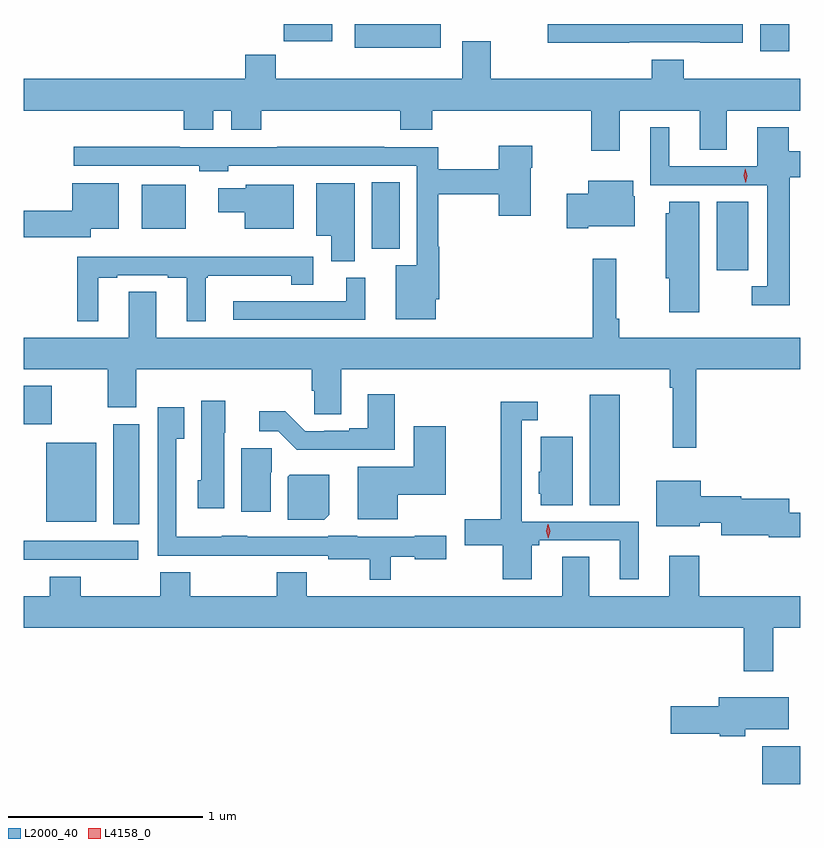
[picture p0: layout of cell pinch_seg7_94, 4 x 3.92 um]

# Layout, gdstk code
import gdstk
lib = gdstk.Library(unit=1e-6, precision=1e-09)
def R(c, l, rs):  # rectangles x0, y0, x1, y1
    for r in rs: c.add(gdstk.rectangle(r[:2], r[2:], *l))
def P(c, l, *ps):  # polygons
    for p in ps: c.add(gdstk.Polygon(p, *l))
L2000_40 = (2000, 40)
L4158_0 = (4158, 0)

pinch_seg7_94 = lib.new_cell('pinch_seg7_94')
R(pinch_seg7_94, L2000_40, [(888.416,1005.14,888.613,1005.334), (884.613,1006.296,885.202,1006.392), (885.074,1006.477,885.208,1006.993), (884.729,1006.49,884.986,1006.897), (887.528,1006.576,887.683,1007.146), (884.613,1006.992,884.757,1007.191), (888.182,1007.787,888.346,1008.14), (886.406,1007.897,886.549,1008.239), (885.221,1007.999,885.448,1008.226), (888.407,1008.915,888.556,1009.055), (886.319,1008.932,886.762,1009.055), (885.952,1008.966,886.201,1009.055)])
P(pinch_seg7_94, L2000_40, [(887.731,1008.96),(888.097,1008.96),(888.097,1008.959),(888.318,1008.959),(888.318,1009.055),(887.313,1009.055),(887.313,1008.959),(887.731,1008.959)],
  [(887.683,1008.608),(888.095,1008.608),(888.095,1008.406),(888.235,1008.406),(888.235,1008.608),(888.613,1008.608),(888.613,1008.772),(888.014,1008.772),(888.014,1008.871),(887.849,1008.871),(887.849,1008.772),(887.019,1008.772),(887.019,1008.967),(886.871,1008.967),(886.871,1008.772),(885.911,1008.772),(885.911,1008.896),(885.755,1008.896),(885.755,1008.772),(884.613,1008.772),(884.613,1008.608),(885.437,1008.608),(885.437,1008.509),(885.589,1008.509),(885.589,1008.608),(885.683,1008.608),(885.683,1008.509),(885.836,1008.509),(885.836,1008.608),(886.553,1008.608),(886.553,1008.509),(886.718,1008.509),(886.718,1008.608),(887.536,1008.608),(887.536,1008.402),(887.683,1008.402)],
  [(888.56,1008.266),(888.613,1008.266),(888.613,1008.4),(888.554,1008.4),(888.554,1008.523),(888.392,1008.523),(888.392,1008.321),(887.938,1008.321),(887.938,1008.523),(887.84,1008.523),(887.84,1008.225),(888.444,1008.225),(888.444,1007.703),(888.363,1007.703),(888.363,1007.606),(888.56,1007.606)],
  [(886.735,1007.638),(886.754,1007.638),(886.754,1007.908),(886.747,1007.908),(886.747,1008.178),(887.059,1008.178),(887.059,1008.066),(887.224,1008.066),(887.224,1008.314),(887.232,1008.314),(887.232,1008.427),(887.059,1008.427),(887.059,1008.307),(886.747,1008.307),(886.747,1008.42),(886.469,1008.42),(886.469,1008.422),(885.919,1008.422),(885.919,1008.42),(885.416,1008.42),(885.416,1008.422),(884.871,1008.422),(884.871,1008.324),(885.516,1008.324),(885.516,1008.296),(885.666,1008.296),(885.666,1008.324),(886.638,1008.324),(886.638,1007.812),(886.529,1007.812),(886.529,1007.534),(886.735,1007.534)],
  [(887.521,1008.014),(887.761,1008.014),(887.761,1008.168),(887.752,1008.168),(887.752,1008.247),(887.522,1008.247),(887.522,1008.18),(887.409,1008.18),(887.409,1008.002),(887.521,1008.002)],
  [(884.958,1007.999),(885.103,1007.999),(885.103,1008.235),(884.864,1008.235),(884.864,1008.092),(884.613,1008.092),(884.613,1007.956),(884.958,1007.956)],
  [(886.318,1008.235),(886.121,1008.235),(886.121,1007.963),(886.196,1007.963),(886.196,1007.833),(886.318,1007.833)],
  [(886.003,1008.226),(885.756,1008.226),(885.756,1008.208),(885.615,1008.208),(885.615,1008.086),(885.752,1008.086),(885.752,1007.999),(886.003,1007.999)],
  [(888.094,1008.14),(887.939,1008.14),(887.939,1008.081),(887.921,1008.081),(887.921,1007.745),(887.939,1007.745),(887.939,1007.571),(888.094,1007.571)],
  [(884.998,1007.748),(885.094,1007.748),(885.094,1007.76),(885.356,1007.76),(885.356,1007.748),(885.452,1007.748),(885.452,1007.525),(885.55,1007.525),(885.55,1007.748),(885.562,1007.748),(885.562,1007.759),(885.992,1007.759),(885.992,1007.713),(886.105,1007.713),(886.105,1007.857),(884.889,1007.857),(884.889,1007.525),(884.998,1007.525)],
  [(888.077,1007.276),(888.613,1007.276),(888.613,1007.44),(887.681,1007.44),(887.681,1007.536),(887.666,1007.536),(887.666,1007.845),(887.545,1007.845),(887.545,1007.44),(885.295,1007.44),(885.295,1007.675),(885.155,1007.675),(885.155,1007.44),(884.613,1007.44),(884.613,1007.276),(885.046,1007.276),(885.046,1007.082),(885.193,1007.082),(885.193,1007.276),(886.097,1007.276),(886.097,1007.166),(886.11,1007.166),(886.11,1007.044),(886.249,1007.044),(886.249,1007.276),(887.941,1007.276),(887.941,1007.18),(887.956,1007.18),(887.956,1006.872),(888.077,1006.872)],
  [(886.372,1007.748),(886.274,1007.748),(886.274,1007.628),(885.693,1007.628),(885.693,1007.532),(886.372,1007.532)],
  [(886.525,1007.149),(886.385,1007.149),(886.385,1006.972),(886.289,1006.972),(886.289,1006.959),(886.162,1006.959),(886.162,1006.956),(886.062,1006.956),(885.96,1007.059),(885.825,1007.059),(885.825,1006.956),(885.924,1006.956),(886.019,1006.862),(886.525,1006.862)],
  [(885.646,1006.95),(885.652,1006.95),(885.652,1007.113),(885.527,1007.113),(885.527,1006.704),(885.509,1006.704),(885.509,1006.56),(885.646,1006.56)],
  [(887.23,1006.37),(887.268,1006.37),(887.268,1006.395),(887.684,1006.395),(887.684,1006.194),(887.782,1006.194),(887.782,1006.491),(887.178,1006.491),(887.178,1007.013),(887.26,1007.013),(887.26,1007.11),(887.07,1007.11),(887.07,1006.505),(886.884,1006.505),(886.884,1006.37),(887.081,1006.37),(887.081,1006.194),(887.23,1006.194)],
  [(886.503,1006.31),(886.626,1006.31),(886.626,1006.298),(886.789,1006.298),(886.789,1006.42),(886.626,1006.42),(886.626,1006.414),(886.332,1006.414),(886.332,1006.42),(886.182,1006.42),(886.182,1006.413),(885.765,1006.413),(885.765,1006.42),(885.633,1006.42),(885.633,1006.414),(885.399,1006.414),(885.399,1006.919),(885.439,1006.919),(885.439,1007.08),(885.303,1007.08),(885.303,1006.317),(885.533,1006.317),(885.533,1006.316),(885.765,1006.316),(885.765,1006.317),(886.182,1006.317),(886.182,1006.298),(886.395,1006.298),(886.395,1006.193),(886.503,1006.193)],
  [(886.54,1006.631),(886.788,1006.631),(886.788,1006.984),(886.622,1006.984),(886.622,1006.774),(886.334,1006.774),(886.334,1006.505),(886.54,1006.505)],
  [(887.44,1006.93),(887.276,1006.93),(887.276,1006.749),(887.267,1006.749),(887.267,1006.635),(887.276,1006.635),(887.276,1006.576),(887.44,1006.576)],
  [(885.886,1006.746),(885.89,1006.746),(885.89,1006.869),(885.734,1006.869),(885.734,1006.542),(885.886,1006.542)],
  [(886.186,1006.528),(886.186,1006.732),(885.982,1006.732),(885.974,1006.724),(885.974,1006.502),(886.16,1006.502)],
  [(888.613,1006.538),(888.556,1006.538),(888.556,1006.609),(888.31,1006.609),(888.31,1006.622),(888.1,1006.622),(888.1,1006.702),(887.87,1006.702),(887.87,1006.469),(888.096,1006.469),(888.096,1006.487),(888.206,1006.487),(888.206,1006.421),(888.452,1006.421),(888.452,1006.41),(888.613,1006.41)],
  [(888.475,1005.944),(888.613,1005.944),(888.613,1006.108),(888.092,1006.108),(888.092,1006.315),(887.939,1006.315),(887.939,1006.108),(887.527,1006.108),(887.527,1006.31),(887.387,1006.31),(887.387,1006.108),(886.071,1006.108),(886.071,1006.232),(885.916,1006.232),(885.916,1006.108),(885.471,1006.108),(885.471,1006.232),(885.316,1006.232),(885.316,1006.108),(884.907,1006.108),(884.907,1006.207),(884.747,1006.207),(884.747,1006.108),(884.613,1006.108),(884.613,1005.944),(888.323,1005.944),(888.323,1005.72),(888.475,1005.72)],
  [(888.33,1005.422),(888.553,1005.422),(888.553,1005.586),(888.194,1005.586),(888.194,1005.54),(887.946,1005.54),(887.946,1005.398),(888.198,1005.398),(888.198,1005.385),(888.33,1005.385)])
P(pinch_seg7_94, L4158_0, [(888.333,1008.237),(888.333,1008.238),(888.321,1008.273),(888.329,1008.31),(888.329,1008.31),(888.329,1008.31),(888.341,1008.274),(888.333,1008.238)],
  [(887.314,1006.406),(887.314,1006.406),(887.304,1006.442),(887.313,1006.478),(887.314,1006.478),(887.314,1006.478),(887.324,1006.442),(887.314,1006.406)])

lib.write_gds('pinch_seg7_94.gds')
